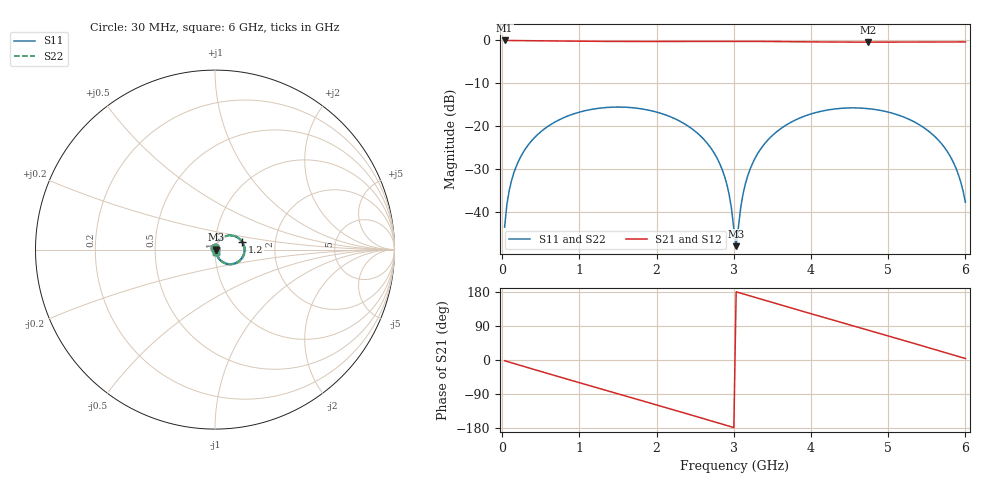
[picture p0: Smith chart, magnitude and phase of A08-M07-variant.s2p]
! yapnr Order 0 O0-M: O0-M A08 M0.7 30 (variant, family M0.7)
! stackup OSHPARK-4L-EM528, nominal parameters; geometry of the OSHPARK-4L-FR408HR design
! model: 2D quasi-static RLGC (Djordjevic-Sarkar, Huray roughness, Wheeler loss); generated by python -m yapnr.rf.coupons expected --stackup OSHPARK-4L-FR408HR --upload M
! reference planes 10 mm from each end; 50 ohm (from the M line's Zc)
# GHz S DB R 50
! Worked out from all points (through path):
!   200 points, 30 MHz to 6 GHz, reference 50 ohm
!   highest |S21| = -0.01 dB at 30 MHz (marker M1); lowest = -0.4 dB at 4.74 GHz (marker M2)
!   group delay of S21, straight-line fit = 165 ps
!   lowest |S11| = -48.0 dB at 3.03 GHz (marker M3), VSWR 1.01, Z = 50.4 + j0.0168 ohm
!   |S11| at or under -10 dB: start of sweep to end of sweep
!   |S22| runs from -48.0 to -15.6 dB; largest |S21 - S12| = 0
!   S11 on the Smith chart (normalised r, x): 30 MHz: 1.00, +0.01; 1.2 GHz: 1.35, +0.12; 6 GHz: 1.01, -0.02
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0.03  -43.58 74.9  -0.01 -1.9  -0.01 -1.9  -43.58 74.9
0.06  -38.23 76.4  -0.02 -3.7  -0.02 -3.7  -38.23 76.4
0.12  -32.71 75.4  -0.03 -7.4  -0.03 -7.4  -32.71 75.4
0.3  -25.30 67.1  -0.06 -18.3  -0.06 -18.3  -25.30 67.1
0.6  -19.96 50.5  -0.12 -36.3  -0.12 -36.3  -19.96 50.5
1.05  -16.51 24.7  -0.20 -62.9  -0.20 -62.9  -16.51 24.7
1.2  -15.97 16.2  -0.22 -71.7  -0.22 -71.7  -15.97 16.2
1.62  -15.62 -7.8  -0.25 -96.3  -0.25 -96.3  -15.62 -7.8
2.04  -16.94 -31.8  -0.24 -121.0  -0.24 -121.0  -16.94 -31.8
2.46  -20.66 -55.5  -0.21 -145.9  -0.21 -145.9  -20.66 -55.5
2.76  -26.75 -70.6  -0.20 -163.9  -0.20 -163.9  -26.75 -70.6
2.91  -33.65 -73.5  -0.20 -172.9  -0.20 -172.9  -33.65 -73.5
3.03  -48.03 2.4  -0.21 179.9  -0.21 179.9  -48.03 2.4
3.12  -35.78 69.0  -0.22 174.5  -0.22 174.5  -35.78 69.0
3.3  -26.69 67.6  -0.23 163.7  -0.23 163.7  -26.69 67.6
3.6  -20.69 52.4  -0.28 145.8  -0.28 145.8  -20.69 52.4
4.02  -17.05 28.9  -0.35 120.9  -0.35 120.9  -17.05 28.9
4.74  -15.93 -11.8  -0.41 78.7  -0.41 78.7  -15.93 -11.8
5.01  -16.78 -26.9  -0.40 62.9  -0.40 62.9  -16.78 -26.9
5.67  -23.68 -62.0  -0.36 23.7  -0.36 23.7  -23.68 -62.0
5.88  -29.91 -68.2  -0.35 11.1  -0.35 11.1  -29.91 -68.2
6  -37.78 -56.3  -0.35 3.9  -0.35 3.9  -37.78 -56.3
